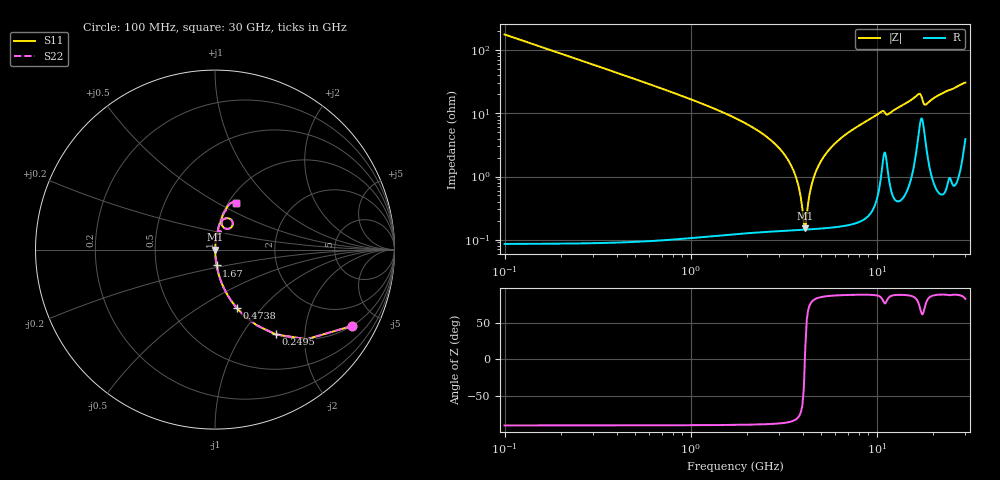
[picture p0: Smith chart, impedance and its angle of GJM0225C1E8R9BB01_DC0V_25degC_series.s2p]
!Murata Part Number: GJM0225C1E8R9BB01
!These Parameters are Measured in Series Mode Connection
!  o--ll--o
!Port1  Port2
!  o------o
!Operation Temp=25[degC], DC Bias Voltage=0[V]
!Freq. Start=100[MHz] Stop=30[GHz], 401[Steps]
!Data Generated on Feb 1, 2023
# Hz S RI R 50
!Freq.(Hz) S11(Real) S11(Imag) S21(Real) S21(Imag) S12(Real) S12(Imag) S22(Real) S22(Imag)
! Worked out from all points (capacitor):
!   401 points, 100 MHz to 30 GHz, reference 50 ohm
!   read as one part in series: C = 8.9 pF near 249.5 MHz
!   lowest |Z| = 151 mohm at 4.136 GHz (marker M1)
!   series resonance near 4.116 GHz, so ESL is about 170 pH
!   S11 on the Smith chart (normalised r, x): 100 MHz: 1.00, -3.57; 249.5 MHz: 1.00, -1.43; 473.8 MHz: 1.00, -0.74; 1.67 GHz: 1.00, -0.18; 30 GHz: 1.08, +0.61
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1e8  0.7615 -0.426  0.2385 0.426  0.2385 0.426  0.7615 -0.426
2.495e8  0.3379 -0.4724  0.6621 0.4724  0.6621 0.4724  0.3379 -0.4724
4.7375e8  0.1224 -0.3265  0.8776 0.3265  0.8776 0.3265  0.1224 -0.3265
9.2225e8  0.0337 -0.1776  0.9663 0.1776  0.9663 0.1776  0.0337 -0.1776
1.66975e9  0.00909 -0.0884  0.9909 0.0884  0.9909 0.0884  0.00909 -0.0884
3.31425e9  0.00174 -0.0189  0.9983 0.0189  0.9983 0.0189  0.00174 -0.0189
3.688e9  0.0015 -0.00952  0.9985 0.00952  0.9985 0.00952  0.0015 -0.00952
3.987e9  0.00144 -0.00275  0.9986 0.00275  0.9986 0.00275  0.00144 -0.00275
4.1365e9  0.00144 0.000444  0.9986 -0.000444  0.9986 -0.000444  0.00144 0.000444
4.21125e9  0.00145 0.002  0.9986 -0.002  0.9986 -0.002  0.00145 0.002
4.585e9  0.00155 0.00941  0.9984 -0.00941  0.9984 -0.00941  0.00155 0.00941
5.10825e9  0.00186 0.019  0.9981 -0.019  0.9981 -0.019  0.00186 0.019
5.85575e9  0.00255 0.0314  0.9975 -0.0314  0.9975 -0.0314  0.00255 0.0314
6.8275e9  0.00381 0.0463  0.9962 -0.0463  0.9962 -0.0463  0.00381 0.0463
1.01165e10  0.0139 0.0948  0.9861 -0.0948  0.9861 -0.0948  0.0139 0.0948
1.1462e10  0.0213 0.0923  0.9787 -0.0923  0.9787 -0.0923  0.0213 0.0923
1.505e10  0.0313 0.1514  0.9687 -0.1514  0.9687 -0.1514  0.0313 0.1514
1.691875e10  0.0837 0.171  0.9163 -0.171  0.9163 -0.171  0.0837 0.171
1.81895e10  0.0547 0.1189  0.9453 -0.1189  0.9453 -0.1189  0.0547 0.1189
2.005825e10  0.0362 0.1633  0.9638 -0.1633  0.9638 -0.1633  0.0362 0.1633
2.50665e10  0.0612 0.222  0.9388 -0.222  0.9388 -0.222  0.0612 0.222
3e10  0.1144 0.2606  0.8856 -0.2606  0.8856 -0.2606  0.1144 0.2606
